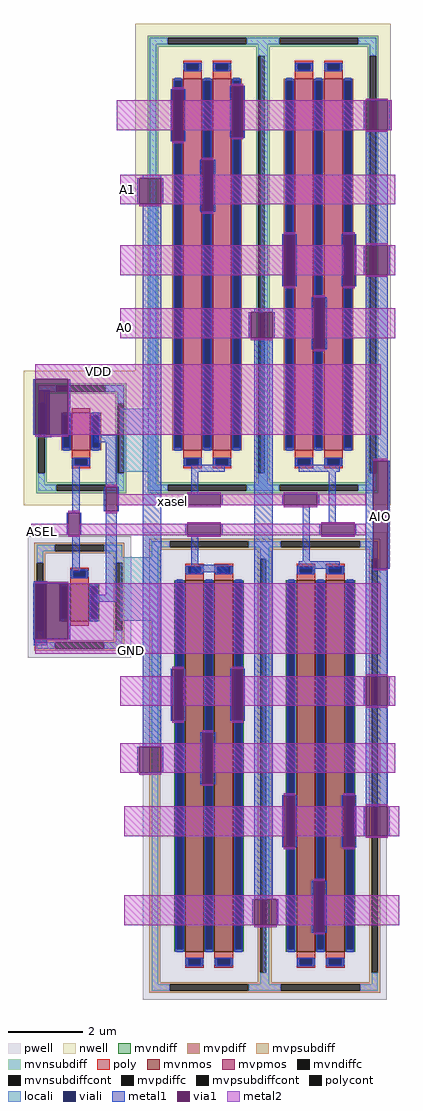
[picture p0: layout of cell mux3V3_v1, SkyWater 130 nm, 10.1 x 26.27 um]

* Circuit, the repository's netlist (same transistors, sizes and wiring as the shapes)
** sch_path: /home/ttuser/TT_WORK/rel/mux3V3_v1.sch
**.subckt mux3V3_v1 VDD AIO ASEL A0 A1 GND
*.ipin VDD
*.iopin AIO
*.ipin ASEL
*.iopin A0
*.iopin A1
*.ipin GND
XMNIO0 A0 xasel AIO GND sky130_fd_pr__nfet_g5v0d10v5 L=0.5 W=10 nf=1 ad='int((nf+1)/2) * W/nf * 0.29' as='int((nf+2)/2) * W/nf * 0.29'
+ pd='2*int((nf+1)/2) * (W/nf + 0.29)' ps='2*int((nf+2)/2) * (W/nf + 0.29)' nrd='0.29 / W' nrs='0.29 / W' sa=0 sb=0 sd=0 mult=2 m=2
XMPIO0 A0 ASEL AIO VDD sky130_fd_pr__pfet_g5v0d10v5 L=0.5 W=10 nf=1 ad='int((nf+1)/2) * W/nf * 0.29' as='int((nf+2)/2) * W/nf * 0.29'
+ pd='2*int((nf+1)/2) * (W/nf + 0.29)' ps='2*int((nf+2)/2) * (W/nf + 0.29)' nrd='0.29 / W' nrs='0.29 / W' sa=0 sb=0 sd=0 mult=2 m=2
XMNIO1 A1 ASEL AIO GND sky130_fd_pr__nfet_g5v0d10v5 L=0.5 W=10 nf=1 ad='int((nf+1)/2) * W/nf * 0.29' as='int((nf+2)/2) * W/nf * 0.29'
+ pd='2*int((nf+1)/2) * (W/nf + 0.29)' ps='2*int((nf+2)/2) * (W/nf + 0.29)' nrd='0.29 / W' nrs='0.29 / W' sa=0 sb=0 sd=0 mult=2 m=2
XMPIO1 A1 xasel AIO VDD sky130_fd_pr__pfet_g5v0d10v5 L=0.5 W=10 nf=1 ad='int((nf+1)/2) * W/nf * 0.29' as='int((nf+2)/2) * W/nf * 0.29'
+ pd='2*int((nf+1)/2) * (W/nf + 0.29)' ps='2*int((nf+2)/2) * (W/nf + 0.29)' nrd='0.29 / W' nrs='0.29 / W' sa=0 sb=0 sd=0 mult=2 m=2
XMP0 xasel ASEL VDD VDD sky130_fd_pr__pfet_g5v0d10v5 L=0.5 W=1 nf=1 ad='int((nf+1)/2) * W/nf * 0.29' as='int((nf+2)/2) * W/nf * 0.29'
+ pd='2*int((nf+1)/2) * (W/nf + 0.29)' ps='2*int((nf+2)/2) * (W/nf + 0.29)' nrd='0.29 / W' nrs='0.29 / W' sa=0 sb=0 sd=0 mult=1 m=1
XMN0 xasel ASEL GND GND sky130_fd_pr__nfet_g5v0d10v5 L=0.5 W=1 nf=1 ad='int((nf+1)/2) * W/nf * 0.29' as='int((nf+2)/2) * W/nf * 0.29'
+ pd='2*int((nf+1)/2) * (W/nf + 0.29)' ps='2*int((nf+2)/2) * (W/nf + 0.29)' nrd='0.29 / W' nrs='0.29 / W' sa=0 sb=0 sd=0 mult=1 m=1
**.ends
.end

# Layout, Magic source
magic
tech sky130A
magscale 1 2
<< locali >>
rect -180 5200 0 5540
rect -180 4400 0 4740
<< viali >>
rect -620 5400 -560 5640
rect -640 4280 -580 4600
<< metal1 >>
rect 90 6980 100 7260
rect 160 6980 170 7260
rect 410 7000 420 7280
rect 480 7000 490 7280
rect 1130 7040 1140 7200
rect 1260 7040 1270 7200
rect -60 6780 40 6800
rect -90 6640 -80 6780
rect 40 6640 50 6780
rect -650 5400 -640 5700
rect -460 5400 -450 5700
rect -626 5388 -554 5400
rect -320 5360 -200 5400
rect -440 4980 -400 5240
rect -260 5120 -200 5360
rect -270 4988 -260 5120
rect -198 4988 -188 5120
rect -470 4860 -460 4980
rect -400 4860 -390 4980
rect -440 4660 -400 4860
rect -646 4600 -574 4612
rect -650 4300 -640 4600
rect -460 4300 -450 4600
rect -260 4540 -200 4988
rect -320 4500 -200 4540
rect -646 4280 -640 4300
rect -580 4280 -574 4300
rect -646 4268 -574 4280
rect -60 3720 40 6640
rect 250 6600 260 6880
rect 320 6600 330 6880
rect 690 6200 700 6480
rect 760 6200 770 6480
rect 1010 6200 1020 6480
rect 1080 6200 1090 6480
rect 1140 6420 1260 7040
rect 1130 6260 1140 6420
rect 1260 6260 1270 6420
rect 540 6060 640 6080
rect 510 5920 520 6060
rect 640 5920 650 6060
rect 200 5200 380 5240
rect 200 5080 240 5200
rect 170 5020 180 5080
rect 360 5020 370 5080
rect 170 4860 180 4920
rect 360 4860 370 4920
rect 200 4700 240 4860
rect 200 4660 400 4700
rect 90 3860 100 4140
rect 160 3860 170 4140
rect 410 3860 420 4140
rect 480 3860 490 4140
rect -90 3580 -80 3720
rect 40 3580 50 3720
rect 250 3520 260 3800
rect 320 3520 330 3800
rect 540 2900 640 5920
rect 850 5860 860 6140
rect 920 5860 930 6140
rect 1140 5260 1260 6260
rect 780 5200 1000 5240
rect 690 5020 700 5080
rect 880 5020 890 5080
rect 800 4720 840 5020
rect 940 4920 980 5200
rect 890 4860 900 4920
rect 1080 4860 1090 4920
rect 780 4680 1000 4720
rect 1140 4680 1180 5260
rect 1260 4680 1270 5260
rect 1140 4100 1260 4680
rect 1130 3940 1140 4100
rect 1260 3940 1270 4100
rect 690 3180 700 3460
rect 760 3180 770 3460
rect 1010 3180 1020 3460
rect 1080 3180 1090 3460
rect 1140 3400 1260 3940
rect 1130 3240 1140 3400
rect 1260 3240 1270 3400
rect 530 2760 540 2900
rect 660 2760 670 2900
rect 850 2720 860 3000
rect 920 2720 930 3000
<< via1 >>
rect 100 6980 160 7260
rect 420 7000 480 7280
rect 1140 7040 1260 7200
rect -80 6640 40 6780
rect -640 5640 -460 5700
rect -640 5400 -620 5640
rect -620 5400 -560 5640
rect -560 5400 -460 5640
rect -260 4988 -198 5120
rect -460 4860 -400 4980
rect -640 4300 -580 4600
rect -580 4300 -460 4600
rect 260 6600 320 6880
rect 700 6200 760 6480
rect 1020 6200 1080 6480
rect 1140 6260 1260 6420
rect 520 5920 640 6060
rect 180 5020 360 5080
rect 180 4860 360 4920
rect 100 3860 160 4140
rect 420 3860 480 4140
rect -80 3580 40 3720
rect 260 3520 320 3800
rect 860 5860 920 6140
rect 700 5020 880 5080
rect 900 4860 1080 4920
rect 1180 4680 1260 5260
rect 1140 3940 1260 4100
rect 700 3180 760 3460
rect 1020 3180 1080 3460
rect 1140 3240 1260 3400
rect 540 2760 660 2900
rect 860 2720 920 3000
<< metal2 >>
rect 420 7280 480 7290
rect 100 7260 160 7270
rect -200 7040 100 7200
rect 160 7040 420 7200
rect 1140 7200 1260 7210
rect 480 7040 1140 7200
rect 1260 7040 1280 7200
rect 1140 7030 1260 7040
rect 420 6990 480 7000
rect 100 6970 160 6980
rect 260 6880 320 6890
rect -180 6780 260 6800
rect -180 6640 -80 6780
rect 40 6640 260 6780
rect -80 6630 40 6640
rect 320 6640 1300 6800
rect 260 6590 320 6600
rect 700 6480 760 6490
rect -180 6260 700 6420
rect 1020 6480 1080 6490
rect 760 6260 1020 6420
rect 700 6190 760 6200
rect 1140 6420 1260 6430
rect 1080 6260 1140 6420
rect 1260 6260 1300 6420
rect 1140 6250 1260 6260
rect 1020 6190 1080 6200
rect 860 6140 920 6150
rect -180 6060 860 6080
rect -180 5920 520 6060
rect 640 5920 860 6060
rect 520 5910 640 5920
rect 920 5920 1300 6080
rect 860 5850 920 5860
rect -640 5700 1220 5780
rect -460 5400 1220 5700
rect -640 5390 -460 5400
rect 1180 5260 1260 5270
rect -260 5120 -198 5130
rect -460 4980 -400 4990
rect -660 4860 -460 4920
rect 180 5080 360 5090
rect 700 5080 880 5090
rect -198 5020 180 5080
rect 360 5020 700 5080
rect 880 5020 1140 5080
rect 180 5010 360 5020
rect 700 5010 880 5020
rect -260 4978 -198 4988
rect 180 4920 360 4930
rect 900 4920 1080 4930
rect -400 4860 180 4920
rect 360 4860 900 4920
rect 1080 4860 1140 4920
rect -460 4850 -400 4860
rect 180 4850 360 4860
rect 900 4850 1080 4860
rect 1180 4670 1260 4680
rect -640 4600 -460 4610
rect -460 4300 1220 4600
rect -640 4220 1220 4300
rect 100 4140 160 4150
rect -180 3940 100 4100
rect 420 4140 480 4150
rect 160 3940 420 4100
rect 100 3850 160 3860
rect 1140 4100 1260 4110
rect 480 3940 1140 4100
rect 1260 3940 1300 4100
rect 1140 3930 1260 3940
rect 420 3850 480 3860
rect 260 3800 320 3810
rect -180 3720 260 3740
rect -180 3580 -80 3720
rect 40 3580 260 3720
rect -80 3570 40 3580
rect 320 3580 1300 3740
rect 260 3510 320 3520
rect 700 3460 760 3470
rect -160 3240 700 3400
rect 1020 3460 1080 3470
rect 760 3240 1020 3400
rect 700 3170 760 3180
rect 1140 3400 1260 3410
rect 1080 3240 1140 3400
rect 1260 3240 1320 3400
rect 1140 3230 1260 3240
rect 1020 3170 1080 3180
rect 860 3000 920 3010
rect -160 2900 860 2920
rect -160 2760 540 2900
rect 660 2760 860 2900
rect 540 2750 660 2760
rect 920 2760 1320 2920
rect 860 2710 920 2720
use sky130_fd_pr__nfet_g5v0d10v5_BPEQ28  sky130_fd_pr__nfet_g5v0d10v5_BPEQ28_0
transform 1 0 297 0 1 3618
box -357 -1258 357 1258
use sky130_fd_pr__nfet_g5v0d10v5_BPEQ28  sky130_fd_pr__nfet_g5v0d10v5_BPEQ28_1
transform 1 0 897 0 1 3618
box -357 -1258 357 1258
use sky130_fd_pr__pfet_g5v0d10v5_KL6LZ5  sky130_fd_pr__pfet_g5v0d10v5_KL6LZ5_0
transform 1 0 287 0 1 6317
box -387 -1297 387 1297
use sky130_fd_pr__pfet_g5v0d10v5_KL6LZ5  sky130_fd_pr__pfet_g5v0d10v5_KL6LZ5_1
transform 1 0 887 0 1 6317
box -387 -1297 387 1297
use sky130_fd_pr__nfet_g5v0d10v5_N5U4UN  XMN0
transform 1 0 -401 0 1 4528
box -278 -327 278 327
use sky130_fd_pr__pfet_g5v0d10v5_U6NWY6  XMP0
transform 1 0 -392 0 1 5382
box -308 -362 308 362
<< labels >>
flabel metal2 -600 4880 -600 4880 0 FreeSans 1600 0 0 0 ASEL
port 0 nsew
flabel metal2 100 5040 100 5040 0 FreeSans 480 0 0 0 xasel
flabel metal2 -160 5980 -160 5980 0 FreeSans 1600 0 0 0 A0
port 2 nsew
flabel metal2 -140 6720 -140 6720 0 FreeSans 1600 0 0 0 A1
port 3 nsew
flabel metal2 -300 5740 -300 5740 0 FreeSans 1600 0 0 0 VDD
port 4 nsew
flabel metal2 -120 4240 -120 4240 0 FreeSans 1600 0 0 0 GND
port 5 nsew
flabel via1 1220 4960 1220 4960 0 FreeSans 1600 0 0 0 AIO
port 6 nsew
<< end >>

# cell sky130_fd_pr__nfet_g5v0d10v5_BPEQ28: kit device sky130_fd_pr__nfet_g5v0d10v5, w 10.0 l 0.5 m 1 nf 2 diffcov 100 polycov 100 guard 1 glc 0 grc 1 gtc 1 gbc 1 tbcov 100 rlcov 100 topc 1 botc 1 poverlap 0 doverlap 1 lmin 0.50 wmin 0.42 compatible {sky130_fd_pr__nfet_01v8 sky130_fd_pr__nfet_01v8_lvt sky130_fd_bs_flash__special_sonosfet_star sky130_fd_pr__nfet_g5v0d10v5 sky130_fd_pr__nfet_05v0_nvt sky130_fd_pr__nfet_03v3_nvt} full_metal 1 viasrc 100 viadrn 100 viagate 100 viagb 0 viagr 0 viagl 0 viagt 0

# cell sky130_fd_pr__pfet_g5v0d10v5_KL6LZ5: kit device sky130_fd_pr__pfet_g5v0d10v5, w 10.0 l 0.5 m 1 nf 2 diffcov 100 polycov 100 guard 1 glc 0 grc 1 gtc 1 gbc 1 tbcov 100 rlcov 100 topc 1 botc 1 poverlap 0 doverlap 1 lmin 0.50 wmin 0.42 compatible {sky130_fd_pr__pfet_01v8 sky130_fd_pr__pfet_01v8_lvt sky130_fd_pr__pfet_01v8_hvt sky130_fd_pr__pfet_g5v0d10v5} full_metal 1 viasrc 100 viadrn 100 viagate 100 viagb 0 viagr 0 viagl 0 viagt 0

# cell sky130_fd_pr__nfet_g5v0d10v5_N5U4UN: kit device sky130_fd_pr__nfet_g5v0d10v5, w 1.0 l 0.5 m 1 nf 1 diffcov 100 polycov 100 guard 1 glc 1 grc 1 gtc 1 gbc 1 tbcov 100 rlcov 100 topc 1 botc 0 poverlap 0 doverlap 1 lmin 0.50 wmin 0.42 compatible {sky130_fd_pr__nfet_01v8 sky130_fd_pr__nfet_01v8_lvt sky130_fd_bs_flash__special_sonosfet_star sky130_fd_pr__nfet_g5v0d10v5 sky130_fd_pr__nfet_05v0_nvt sky130_fd_pr__nfet_03v3_nvt} full_metal 1 viasrc 100 viadrn 100 viagate 100 viagb 0 viagr 0 viagl 0 viagt 0

# cell sky130_fd_pr__pfet_g5v0d10v5_U6NWY6: kit device sky130_fd_pr__pfet_g5v0d10v5, w 1.0 l 0.5 m 1 nf 1 diffcov 100 polycov 100 guard 1 glc 1 grc 1 gtc 1 gbc 1 tbcov 100 rlcov 100 topc 0 botc 1 poverlap 0 doverlap 1 lmin 0.50 wmin 0.42 compatible {sky130_fd_pr__pfet_01v8 sky130_fd_pr__pfet_01v8_lvt sky130_fd_pr__pfet_01v8_hvt sky130_fd_pr__pfet_g5v0d10v5} full_metal 1 viasrc 100 viadrn 100 viagate 100 viagb 0 viagr 0 viagl 0 viagt 0
